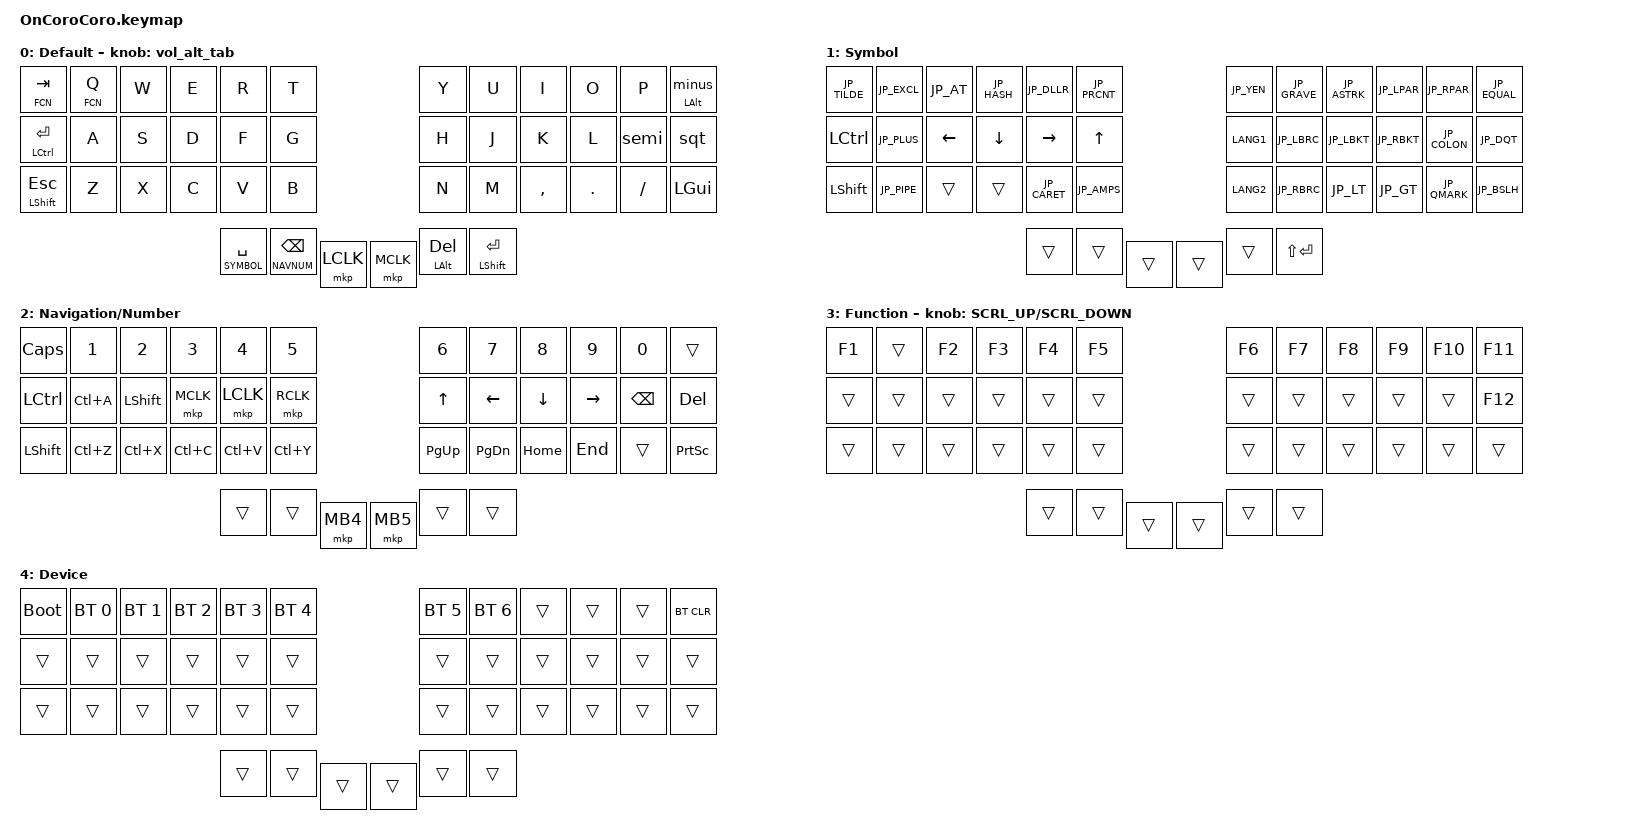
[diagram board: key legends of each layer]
#include <behaviors.dtsi>
#include <dt-bindings/zmk/bt.h>

#define ZMK_POINTING_DEFAULT_SCRL_VAL 120

#include <dt-bindings/zmk/keys.h>
#include <dt-bindings/zmk/pointing.h>
#include <dt-bindings/zmk/outputs.h>
#include <behaviors/rgbled_widget.dtsi>
#include <zephyr/dt-bindings/input/input-event-codes.h>


#include "keycode_japanese.h"

#define DEFAULT 0
#define SYMBOL 1
#define NAVNUM 2
#define FCN 3
#define DEVICE 4
#define MOUSE 5

#define CLICK_L 38
#define CLICK_M 39

&mt {
    flavor = "hold-preferred";
};

&lt {
    flavor = "hold-preferred";
};

&msc {
    delay-ms = <0>;
    trigger-period-ms = <10>; // default:16
    time-to-max-speed-ms = <0>;
    acceleration-exponent = <0>;
};

/ {
    conditional_layers {
        compatible = "zmk,conditional-layers";
        device_layer {
            if-layers = <SYMBOL NAVNUM>;
            then-layer = <DEVICE>;
        };
    };

    combos{
        compatible = "zmk,combos";
        combo_rclck {
            timeout-ms = <100>;
            key-positions = <CLICK_L CLICK_M>;
            bindings = <&mkp RCLK>;
        };
    };

    behaviors {
        // Japanese settings
        minus: jp-minus {
            compatible = "zmk,behavior-mod-morph";
            #binding-cells = <0>;
            bindings = <&kp JP_MINUS>, <&kp JP_UNDER>;
            mods = <(MOD_LSFT|MOD_RSFT)>;
        };
        semi: jp-semi {
            compatible = "zmk,behavior-mod-morph";
            #binding-cells = <0>;
            bindings = <&kp JP_SEMI>, <&kp JP_COLON>;
            mods = <(MOD_LSFT|MOD_RSFT)>;
        };
        sqt: jp-sqt {
            compatible = "zmk,behavior-mod-morph";
            #binding-cells = <0>;
            bindings = <&kp JP_SQT>, <&kp JP_DQT>;
            mods = <(MOD_LSFT|MOD_RSFT)>;
        };
        minusmod: minus_mod {
            compatible = "zmk,behavior-hold-tap";
            #binding-cells = <2>;
            flavor = "tap-preferred";
            tapping-term-ms = <200>;
            bindings = <&kp>, <&minus>;
        };
        sqtmod: sqt_mod {
            compatible = "zmk,behavior-hold-tap";
            #binding-cells = <2>;
            flavor = "tap-preferred";
            tapping-term-ms = <200>;
            bindings = <&kp>, <&sqt>;
        };
        // Hold-Tap
        plt: positional_layer_tap {
            compatible = "zmk,behavior-hold-tap";
            #binding-cells = <2>;
            flavor = "hold-preferred";
            tapping-term-ms = <1000>;
            quick-tap-ms = <200>;
            bindings = <&mo>, <&kp>;
            hold-trigger-key-positions = <0>;
        };
        mth: mt-hold-while-undecided {
            compatible = "zmk,behavior-hold-tap";
            #binding-cells = <2>;
            flavor = "hold-preferred";
            hold-while-undecided;
            tapping-term-ms = <200>;
            bindings = <&kp>, <&kp>;
        };
        lth: lt-hold-while-undecided {
            compatible = "zmk,behavior-hold-tap";
            #binding-cells = <2>;
            flavor = "hold-preferred";
            hold-while-undecided;
            tapping-term-ms = <200>;
            bindings = <&mo>, <&kp>;
        };
        ltc: lt-with-click_L {
            compatible = "zmk,behavior-hold-tap";
            #binding-cells = <2>;
            flavor = "hold-preferred";
            hold-while-undecided;
            tapping-term-ms = <200>;
            bindings = <&mo>, <&mkp>;
        };
        mtt: mt-tap-preferred {
            compatible = "zmk,behavior-hold-tap";
            #binding-cells = <2>;
            tapping-term-ms = <150>;
            quick-tap-ms = <0>;
            flavor = "tap-preferred";
            bindings = <&kp>, <&kp>;
        };
        pmtc: positional_mod_tap_click_L {
            compatible = "zmk,behavior-hold-tap";
            #binding-cells = <2>;
            flavor = "hold-preferred";
            tapping-term-ms = <1000>;
            quick-tap-ms = <200>;
            bindings = <&kp>, <&kp>;
            hold-trigger-key-positions = <CLICK_L>;
        };
        ltt: lt-tap-preferred {
            compatible = "zmk,behavior-hold-tap";
            #binding-cells = <2>;
            flavor = "tap-preferred";
            tapping-term-ms = <200>;
            bindings = <&mo>, <&kp>;
        };

        // Encoders
        rot_kp: sensor_rotate_kp {
            compatible = "zmk,behavior-sensor-rotate-var";
            #sensor-binding-cells = <2>;
            bindings = <&kp>, <&kp>;
        };

        mouse_scrl: mouse_wheel_scrl {
            compatible = "zmk,behavior-sensor-rotate-var";
            #sensor-binding-cells = <2>;
            bindings = <&msc>, <&msc>;
            tap-ms = <10>;
        };
        alt_p: alt-positive {
            compatible = "zmk,behavior-mod-morph";
            #binding-cells = <0>;
            bindings = <&kp 0>, <&kp TAB>;
            mods = <(MOD_LALT|MOD_RALT)>;
            keep-mods = <(MOD_LALT)>;
        };
        gui_p: gui-positive {
            compatible = "zmk,behavior-mod-morph";
            #binding-cells = <0>;
            bindings = <&kp 0>, <&kp RIGHT>;
            mods = <(MOD_LGUI|MOD_RGUI)>;
            keep-mods = <(MOD_LGUI)>;
        };
        ag_p: alt-gui-positive {
            compatible = "zmk,behavior-mod-morph";
            #binding-cells = <0>;
            bindings = <&gui_p>, <&alt_p>;
            mods = <(MOD_LALT|MOD_RALT)>;
        };
        arrow_p: arrow-positive {
            compatible = "zmk,behavior-mod-morph";
            #binding-cells = <0>;
            bindings = <&kp RIGHT>, <&kp DOWN>;
            mods = <(MOD_LCTL|MOD_RCTL)>;
        };
        vol_arrow_p: volume-arrow-positive {
            compatible = "zmk,behavior-mod-morph";
            #binding-cells = <0>;
            bindings = <&kp C_VOL_UP>, <&arrow_p>;
            mods = <(MOD_LSFT|MOD_RSFT|MOD_LCTL|MOD_RCTL)>;
        };
        vol_alt_gui_p: volume-alt-gui-positive {
            compatible = "zmk,behavior-mod-morph";
            #binding-cells = <0>;
            bindings = <&vol_arrow_p>, <&ag_p>;
            mods = <(MOD_LALT|MOD_RALT|MOD_LGUI|MOD_RGUI)>;
        };
        alt_n: alt-negative {
            compatible = "zmk,behavior-mod-morph";
            #binding-cells = <0>;
            bindings = <&kp 0>, <&kp LS(TAB)>;
            mods = <(MOD_LALT|MOD_RALT)>;
            keep-mods = <(MOD_LALT)>;
        };
        gui_n: gui-negative {
            compatible = "zmk,behavior-mod-morph";
            #binding-cells = <0>;
            bindings = <&kp 0>, <&kp LEFT>;
            mods = <(MOD_LGUI|MOD_RGUI)>;
            keep-mods = <(MOD_LGUI)>;
        };
        ag_n: alt-gui-negative {
            compatible = "zmk,behavior-mod-morph";
            #binding-cells = <0>;
            bindings = <&gui_n>, <&alt_n>;
            mods = <(MOD_LALT|MOD_RALT)>;
        };
        arrow_n: arrow-negative {
            compatible = "zmk,behavior-mod-morph";
            #binding-cells = <0>;
            bindings = <&kp LEFT>, <&kp UP>;
            mods = <(MOD_LCTL|MOD_RCTL)>;
        };
        vol_arrow_n: volume-arrow-negative {
            compatible = "zmk,behavior-mod-morph";
            #binding-cells = <0>;
            bindings = <&kp C_VOL_DN>, <&arrow_n>;
            mods = <(MOD_LSFT|MOD_RSFT|MOD_LCTL|MOD_RCTL)>;
        };
        vol_alt_gui_n: volume-right-alt-gui-negative {
            compatible = "zmk,behavior-mod-morph";
            #binding-cells = <0>;
            bindings = <&vol_arrow_n>, <&ag_n>;
            mods = <(MOD_LALT|MOD_RALT|MOD_LGUI|MOD_RGUI)>;
        };
        vol_alt_tab: volume-alt-tab {
            compatible = "zmk,behavior-sensor-rotate";
            #sensor-binding-cells = <0>;
            bindings = <&vol_alt_gui_n>, <&vol_alt_gui_p>;
            tap-ms = <10>;
        };

    };

    keymap {
        compatible = "zmk,keymap";
        default_layer {
            display-name = "Default";
            bindings = <
                &lth FCN TAB    &plt FCN Q  &kp W &kp E     &kp R     &kp T                                   &kp Y &kp U &kp I     &kp O   &kp P     &minusmod LALT 0
                &mth LCTRL RET  &kp A       &kp S &kp D     &kp F     &kp G                                   &kp H &kp J &kp K     &kp L   &semi     &sqt
                &mth LSHIFT ESC &kp Z       &kp X &kp C     &kp V     &kp B                                   &kp N &kp M &kp COMMA &kp DOT &kp SLASH &kp LGUI
                                                    &lth SYMBOL SPACE &lth NAVNUM BSPC  &mkp LCLK  &mkp MCLK  &mt LALT DEL &mt LSHFT RET
            >;
            sensor-bindings = <&vol_alt_tab>;
        };
        symbol_layer {
            display-name = "Symbol";
            bindings = <
                &kp JP_TILDE &kp JP_EXCL  &kp JP_AT &kp JP_HASH &kp JP_DLLR  &kp JP_PRCNT              &kp JP_YEN   &kp JP_GRAVE  &kp JP_ASTRK  &kp JP_LPAR  &kp JP_RPAR  &kp JP_EQUAL
                &kp LCTRL    &kp JP_PLUS  &kp LEFT  &kp DOWN    &kp RIGHT    &kp UP                    &kp LANG1    &kp JP_LBRC   &kp JP_LBKT   &kp JP_RBKT  &kp JP_COLON &kp JP_DQT
                &kp LSHIFT   &kp JP_PIPE  &trans    &trans      &kp JP_CARET &kp JP_AMPS               &kp LANG2    &kp JP_RBRC   &kp JP_LT     &kp JP_GT    &kp JP_QMARK &kp JP_BSLH
                                                                &trans       &trans      &trans &trans &trans       &kp LS(RET)
            >;
        };
        navnum_layer {
            display-name = "Navigation/Number";
            bindings = <
                &kp CAPSLOCK &kp N1    &kp N2    &kp N3    &kp N4     &kp N5                     &kp N6    &kp N7    &kp N8   &kp N9    &kp N0   &trans
                &kp LCTRL    &kp LC(A) &kp LSHIFT &mkp MCLK &mkp LCLK &mkp RCLK                  &kp UP    &kp LEFT  &kp DOWN &kp RIGHT &kp BSPC &kp DEL
                &kp LSHIFT   &kp LC(Z) &kp LC(X) &kp LC(C) &kp LC(V)  &kp LC(Y)                  &kp PG_UP &kp PG_DN &kp HOME &kp END   &trans   &kp PSCRN
                                                           &trans     &trans  &mkp MB4  &mkp MB5 &trans    &trans
            >;
        };
        fcn_layer {
            display-name = "Function";
            bindings = <
                &kp F1 &trans &kp F2 &kp F3 &kp F4 &kp F5               &kp F6 &kp F7 &kp F8 &kp F9 &kp F10 &kp F11
                &trans &trans &trans &trans &trans &trans               &trans &trans &trans &trans &trans  &kp F12
                &trans &trans &trans &trans &trans &trans               &trans &trans &trans &trans &trans  &trans
                                            &trans &trans &trans &trans &trans &trans
            >;
            sensor-bindings = <&mouse_scrl SCRL_UP SCRL_DOWN>;
        };
        device_layer {
            display-name = "Device";
            bindings = <
                &bootloader &bt BT_SEL 0 &bt BT_SEL 1 &bt BT_SEL 2 &bt BT_SEL 3 &bt BT_SEL 4          &bt BT_SEL 5 &bt BT_SEL 6 &trans &trans &trans &bt BT_CLR
                &trans      &trans       &trans       &trans       &trans       &trans                &trans       &trans       &trans &trans &trans &trans
                &trans      &trans       &trans       &trans       &trans       &trans                &trans       &trans       &trans &trans &trans &trans
                                                                   &trans       &trans  &trans &trans &trans       &trans
            >;
        };
        mouse_layer {
            display-name = "Mouse";
            status = "reserved";
            bindings = <
                &trans &trans &trans &trans &trans &trans               &trans &trans &trans &trans &trans &trans
                &trans &trans &kp LSHFT &mkp MCLK &mkp LCLK &mkp RCLK   &trans &trans &trans &trans &trans &trans
                &trans &trans &trans &trans &trans &trans               &trans &trans &trans &trans &trans &trans
                                            &trans &trans &trans &trans &trans &trans
            >;
        };
    };
};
